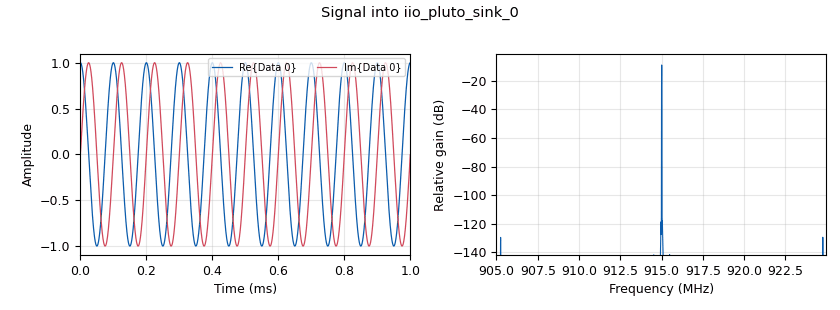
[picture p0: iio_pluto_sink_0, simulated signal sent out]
options:
  parameters:
    generate_options: qt_gui
    id: Pluto_signal_generator
    output_language: python
    title: Not titled yet
  states: {}

blocks:
- name: attenuate
  id: variable
  parameters:
    value: '30'
  states: {}
- name: freq
  id: variable
  parameters:
    value: '915000000'
  states: {}
- name: sample_rate
  id: variable
  parameters:
    value: '20000000'
  states: {}
- name: analog_sig_source_x_0
  id: analog_sig_source_x
  parameters:
    amp: '1'
    freq: '10000'
    offset: '0'
    phase: '0'
    samp_rate: sample_rate
    type: complex
    waveform: analog.GR_COS_WAVE
  states: {}
- name: iio_pluto_sink_0
  id: iio_pluto_sink
  parameters:
    attenuation1: attenuate
    auto_filter: 'True'
    bandwidth: '20000000'
    buffer_size: '32768'
    cyclic: 'True'
    frequency: freq
    samplerate: sample_rate
    uri: ip:pluto.local
  states: {}

connections:
- [analog_sig_source_x_0, '0', iio_pluto_sink_0, '0']

metadata:
  file_format: 1
